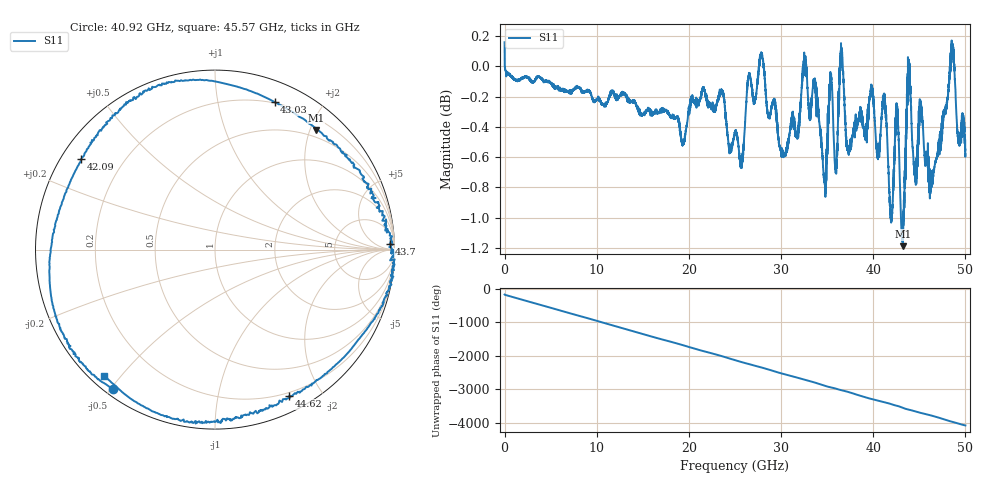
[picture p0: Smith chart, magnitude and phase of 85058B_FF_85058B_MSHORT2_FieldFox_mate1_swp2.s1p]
!Created with skrf (http://scikit-rf.org).
# Hz S RI R 50.0
!freq ReS11 ImS11
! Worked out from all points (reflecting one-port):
!   10001 points, 300 kHz to 50 GHz, reference 50 ohm
!   lowest |S11| = -1.2 dB at 43.2 GHz (marker M1), VSWR 14.65, Z = 18.8 + j105 ohm
!   phase of S11 starts at -175 deg and turns -3902 deg over the sweep
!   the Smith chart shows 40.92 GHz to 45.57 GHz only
!   S11 on the Smith chart (normalised r, x): 40.92 GHz: 0.02, -0.51; 42.09 GHz: 0.06, +0.31; 43.03 GHz: 0.19, +1.46; 43.7 GHz: 33, +36; 44.62 GHz: 0.16, -1.62; 45.57 GHz: 0.04, -0.45
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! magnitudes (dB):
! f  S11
! 300 kHz  0.2
! 6.25 GHz  -0.2
! 12.5 GHz  -0.2
! 18.75 GHz  -0.3
! 25 GHz  -0.4
! 25.72 GHz  -0.7
! 26.47 GHz  -0.1
! 27.85 GHz  0.1
! 30.07 GHz  -0.6
! 31.25 GHz  -0.3
! 32.59 GHz  0.0
! 34.74 GHz  -0.8
! 35.37 GHz  -0.1
! 35.98 GHz  -0.7
! 36.58 GHz  0.1
! 37.5 GHz  -0.5
! 40.92 GHz  -0.3
! 42.09 GHz  -0.9
! 42.57 GHz  -0.3
! 43.03 GHz  -1.0
! 43.2 GHz  -1.2
! 43.7 GHz  -0.2
! 43.75 GHz  -0.1
! 44.62 GHz  -0.8
! 45.57 GHz  -0.6
! 46.4 GHz  -0.7
! 48.56 GHz  0.1
! 50 GHz  -0.6
